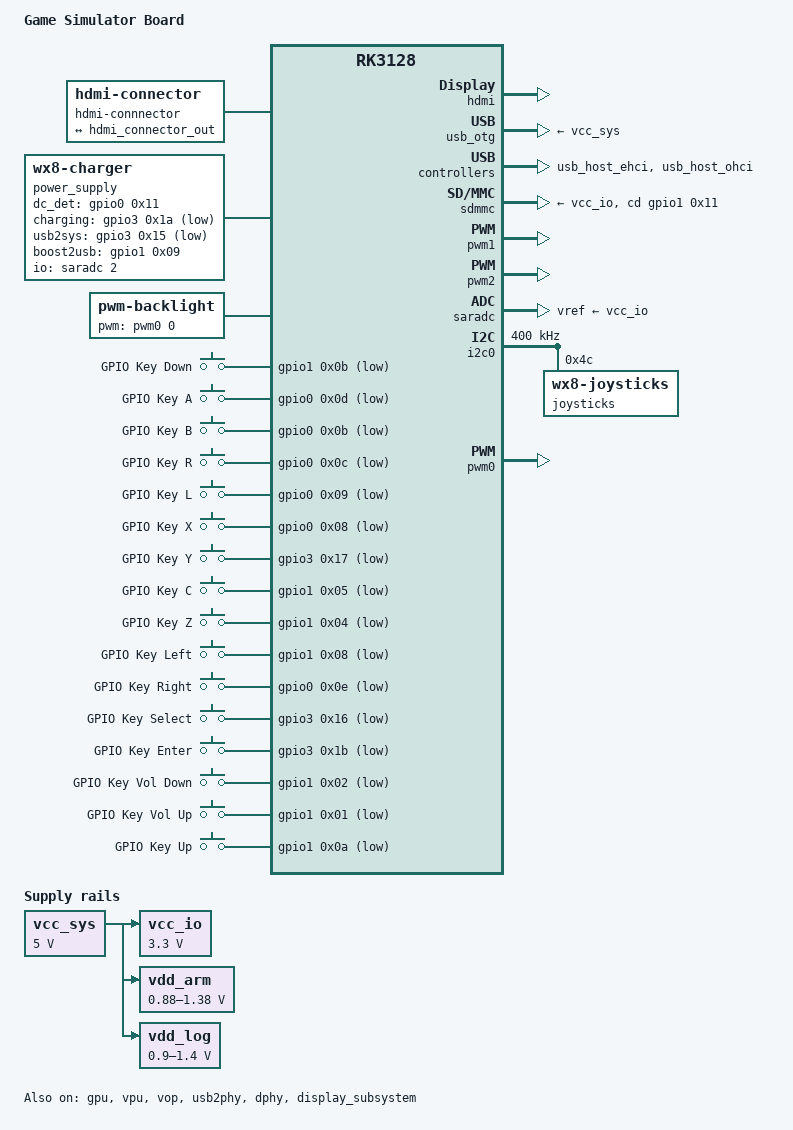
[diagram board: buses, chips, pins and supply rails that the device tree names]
/*
 * (C) Copyright 2017 Rockchip Electronics Co., Ltd
 * (C) Copyright 2021 Martin Cerveny
 *
 * SPDX-License-Identifier:     GPL-2.0+
 */

/dts-v1/;

#include <dt-bindings/input/input.h>
#include <dt-bindings/leds/common.h>

#include "rockchip/rk3128.dtsi"

/ {
	model = "Game Simulator Board";
	compatible = "rockchip,rk3128-gamesim", "rockchip,rk3128";

	chosen {
		stdout-path = &uart0;
		bootargs = "earlycon=uart8250,mmio32,0x20060000 rootwait console=ttyFIQ0,115200n8 swiotlb=1 root=PARTUUID=fd800c6c-2fdb-4502-82cb-e61f66b9a221";
	};

	vcc_sys: vcc-sys {	// from USB OTG or from battery
		compatible = "regulator-fixed";
		regulator-name = "vcc_sys";
		regulator-always-on;
		regulator-boot-on;
		regulator-min-microvolt = <5000000>;
		regulator-max-microvolt = <5000000>;
	};

	vcc_io: vcc-io {
		compatible = "regulator-fixed";
		regulator-name = "vcc_io";
		regulator-min-microvolt = <3300000>;
		regulator-max-microvolt = <3300000>;
		regulator-always-on;
		regulator-boot-on;
		vin-supply = <&vcc_sys>;
	};

	vdd_arm: vdd-arm {
		compatible = "pwm-regulator";
		pwms = <&pwm1 0 5000 0>;
		regulator-name = "vdd_arm";
		regulator-min-microvolt = <880000>;
		regulator-max-microvolt = <1380000>;
		regulator-init-microvolt = <1100000>;
		regulator-early-min-microvolt = <1100000>;
		regulator-always-on;
		regulator-boot-on;
		pwm-supply = <&vcc_sys>;
		pwm-dutycycle-range = <100 0>;
		pwm-dutycycle-unit = <100>;
	};

	vdd_log: vdd-log {
		compatible = "pwm-regulator";
		pwms = <&pwm2 0 5000 0>;
		regulator-name = "vdd_log";
		regulator-min-microvolt = <900000>;
		regulator-max-microvolt = <1400000>;
		regulator-init-microvolt = <1100000>;
		regulator-early-min-microvolt = <1100000>;
		regulator-always-on;
		regulator-boot-on;
		pwm-supply = <&vcc_sys>;
		pwm-dutycycle-range = <100 0>;
		pwm-dutycycle-unit = <100>;
	};

	hdmi-connnector {
		compatible = "hdmi-connector";
		type = "a";

		port {
			hdmi_connector_in: endpoint {
				remote-endpoint = <&hdmi_connector_out>;
			};
		};
	};

	fiq-debugger {
		compatible = "rockchip,fiq-debugger";
		rockchip,serial-id = <0>;
		rockchip,wake-irq = <159>;
		pinctrl-0 = <&uart0_xfer>;
		pinctrl-names = "default";
		rockchip,irq-mode-enable = <1>;
		rockchip,baudrate = <115200>;
		status = "okay";
	};

	reserved-memory {
		#address-cells = <0x01>;
		#size-cells = <0x01>;
		ranges;

		drm_logo: drm-logo@0 {
			compatible = "rockchip,drm-logo";
			reg = <0x00 0x00>;
		};
	};

	/*sound: sound {
		compatible = "simple-audio-card";
		simple-audio-card,format = "i2s";
		simple-audio-card,mclk-fs = <0x100>;
		simple-audio-card,name = "rockchip,rk312x-codec";
		simple-audio-card,routing = "Headphone Jack", "HiFi Playback";
		simple-audio-card,widgets = "Headphone", "Headphone Jack";

		simple-audio-card,dai-link@0 {
			format = "i2s";

			codec {
				sound-dai = <&codec>;
			};

			cpu {
				sound-dai = <&i2s_8ch>;
			};
		};

		simple-audio-card,dai-link@1 {
			format = "i2s";

			codec {
				sound-dai = <&hdmi>;
			};

			cpu {
				sound-dai = <&i2s_8ch>;
			};
		};
	};*/

	power_supply: power-supply {
		compatible = "wx8-charger";

		pinctrl-0 = <&charging_gpio &dc_det_gpio &usb2sys_gpio &boost2usb_gpio>;
		pinctrl-names = "default";

		dc_det_gpio = <&gpio0 0x11 GPIO_ACTIVE_HIGH>;	// input, works only when usb2sys_gpio
		charging_gpio = <&gpio3 0x1a GPIO_ACTIVE_LOW>;	// input, /CHRG output from TP4056

		// both output cannot be active in same time (eg. LOW-LOW or HIGH-HIGH is allowed), beaware loop boost->usb->sys->boost
		usb2sys_gpio = <&gpio3 0x15 GPIO_ACTIVE_LOW>;	// output, power switch "vcc_usb" -> "vcc_sys" & "vcc_charger"
		boost2usb_gpio = <&gpio1 0x09 GPIO_ACTIVE_HIGH>;// output, power switch "vcc_booster" -> vcc_usb"

		io-channels = <&saradc 2>;
		ref_voltage = <3300>; 		// mV, from saradc -> vref-supply -> ?
		voltage_divider = <200 200>; 	// adc resistor divider

		extcon = <&usb2phy>;
	};
};

&cpu0 {
	cpu-supply = <&vdd_arm>;
};

&cpu_opp_table {
	opp-1008000000 {
		clock-latency-ns = <40000>;
		opp-hz = /bits/ 64 <1008000000>;
		opp-microvolt = <1200000 1200000 1380000>;
		opp-microvolt-L0 = <1200000 1200000 1380000>;
		opp-microvolt-L1 = <1175000 1175000 1380000>;
		opp-microvolt-L2 = <1225000 1225000 1380000>;
	};

	opp-1200000000 {
		clock-latency-ns = <40000>;
		opp-hz = /bits/ 64 <1200000000>;
		opp-microvolt = <1325000 1325000 1380000>;
		opp-microvolt-L0 = <1325000 1325000 1380000>;
		opp-microvolt-L1 = <1300000 1300000 1380000>;
		opp-microvolt-L2 = <1375000 1375000 1380000>;
	};

	opp-216000000 {
		clock-latency-ns = <40000>;
		opp-hz = /bits/ 64 <216000000>;
		opp-microvolt = <925000 925000 1380000>;
		opp-microvolt-L0 = <925000 925000 1380000>;
		opp-microvolt-L1 = <925000 925000 1380000>;
		opp-microvolt-L2 = <950000 950000 1380000>;
	};

	opp-408000000 {
		clock-latency-ns = <40000>;
		opp-hz = /bits/ 64 <408000000>;
		opp-microvolt = <950000 950000 1380000>;
		opp-microvolt-L0 = <950000 950000 1380000>;
		opp-microvolt-L1 = <925000 925000 1380000>;
		opp-microvolt-L2 = <950000 950000 1380000>;
	};

	opp-600000000 {
		clock-latency-ns = <40000>;
		opp-hz = /bits/ 64 <600000000>;
		opp-microvolt = <975000 975000 1380000>;
		opp-microvolt-L0 = <975000 975000 1380000>;
		opp-microvolt-L1 = <950000 950000 1380000>;
		opp-microvolt-L2 = <975000 975000 1380000>;
	};

	opp-696000000 {
		clock-latency-ns = <40000>;
		opp-hz = /bits/ 64 <696000000>;
		opp-microvolt = <1000000 1000000 1380000>;
		opp-microvolt-L0 = <1000000 1000000 1380000>;
		opp-microvolt-L1 = <975000 975000 1380000>;
		opp-microvolt-L2 = <1050000 1050000 1380000>;
	};

	opp-816000000 {
		clock-latency-ns = <40000>;
		opp-hz = /bits/ 64 <816000000>;
		opp-microvolt = <1075000 1075000 1380000>;
		opp-microvolt-L0 = <1075000 1075000 1380000>;
		opp-microvolt-L1 = <1050000 1050000 1380000>;
		opp-microvolt-L2 = <1100000 1100000 1380000>;
		opp-suspend;
	};
};

/*&dfi {
	status = "okay";
};*/

/*&dmc {
	status = "okay";
	center-supply = <&vdd_log>;
	vop-dclk-mode = <1>;
};*/

/*&soc_thermal {
	trips {
		soc_crit: soc-crit {
			hysteresis = <2000>;
			temperature = <115000>;
			type = "critical";
		};
	};
};*/

/*&tsadc {
	status = "okay";
};*/

&gpu {
	status = "okay";
	mali-supply = <&vdd_log>;
};

/*&rng {
	status = "okay";
};*/

/*&hevc {
	status = "okay";
};

&hevc_mmu {
	status = "okay";
};*/

&vpu {
	status = "okay";
};

&vpu_mmu {
	status = "okay";
};

/*&vpu_combo {
	status = "okay";
};

&rga  {
	status = "okay";
};*/

&vop {
	status = "okay";
};

/*&vop_mmu {
	status = "okay";
};*/

&hdmi {
	status = "okay";
};

&hdmi_out {
	hdmi_connector_out: endpoint {
		remote-endpoint = <&hdmi_connector_in>;
	};
};

&usb_otg {
	status = "okay";
	vbus-supply = <&vcc_sys>;
};

&usb_host_ehci {
	status = "okay";
};

&usb_host_ohci {
	status = "okay";
};

/*&i2s_8ch  {
	status = "okay";
	#sound-dai-cells = <0>;
};*/

/*&sfc {
	status = "okay";
};*/

&sdmmc {
	status = "okay";

	supports-sd;
	broken-cd;

	card-detect-delay = <200>;
	ignore-pm-notify;
	keep-power-in-suspend;
	vmmc-supply = <&vcc_io>;
	vqmmc-supply = <&vcc_io>;

	cd-gpios = <&gpio1 0x11 0x00>;

	cap-mmc-highspeed;
	cap-sd-highspeed;

	clock-frequency = <37500000>;
	max-frequency = <37500000>;
	num-slots = <1>;
};

&usb2phy {
	status = "okay";
};


/*&codec {
	status = "okay";

	#sound-dai-cells = <0>;
	capture_volume = <0x1a>;
	codec_hp_det = <1>;
	gpio_debug = <1>;

	hp-mute-delay = <0x05>;
	hp_volume = <0x19>;

	spk-ctl-gpios = <&gpio1 0x03 0x00>;
	spk-mute-delay = <0x05>;
	spk_volume = <0x19>;

	rk312x_for_mid = <0>;
	is_rk3128 = <1>;
};*/

&dphy {
	status = "okay";
};

&pwm1 {
	status = "okay";
};

&pwm2 {
	status = "okay";
};

&saradc {
	status = "okay";
	vref-supply = <&vcc_io>;
};

&i2c0 {
	status = "okay";

	clock-frequency = <400000>;

	i2c-scl-falling-time-ns = <0x0b>;
	i2c-scl-rising-time-ns = <0x109>;

	joysticks: i2cjoy@4c {
		compatible = "wx8-joysticks";
		reg = <0x4c>;
	};
};


&pinctrl {
	lcdc {
		lcd_enable: lcd-enable {
			rockchip,pins = <1 RK_PB4 RK_FUNC_GPIO &pcfg_pull_none>;
		};

		lcd_reset: lcd-reset {
			rockchip,pins = <0 RK_PD0 RK_FUNC_GPIO &pcfg_pull_none>;
		};
	};

	buttons {

		game_keys: game-keys {
			rockchip,pins = <1 0x04 RK_FUNC_GPIO &pcfg_pull_default
					 1 0x05 RK_FUNC_GPIO &pcfg_pull_default
					 0 0x08 RK_FUNC_GPIO &pcfg_pull_default
					 0 0x09 RK_FUNC_GPIO &pcfg_pull_default
					 0 0x0b RK_FUNC_GPIO &pcfg_pull_default
					 0 0x0c RK_FUNC_GPIO &pcfg_pull_default
					 0 0x0d RK_FUNC_GPIO &pcfg_pull_default
					 0 0x0e RK_FUNC_GPIO &pcfg_pull_default
					 1 0x08 RK_FUNC_GPIO &pcfg_pull_default
					 1 0x0a RK_FUNC_GPIO &pcfg_pull_default
					 1 0x0b RK_FUNC_GPIO &pcfg_pull_default
					 3 0x16 RK_FUNC_GPIO &pcfg_pull_default
					 3 0x17 RK_FUNC_GPIO &pcfg_pull_default
					 3 0x1b RK_FUNC_GPIO &pcfg_pull_default
					 1 0x01 RK_FUNC_GPIO &pcfg_pull_default
					 1 0x02 RK_FUNC_GPIO &pcfg_pull_default
					 >;
		};
	};

	power {
		charging_gpio: charging-gpio {
			rockchip,pins = <3 0x1a RK_FUNC_GPIO &pcfg_pull_default>;
		};

		usb2sys_gpio: usb2sys-gpio {
			rockchip,pins = <3 0x15 RK_FUNC_GPIO &pcfg_pull_default>;
		};

		boost2usb_gpio: boost2usb-gpio {
			rockchip,pins = <1 0x09 RK_FUNC_GPIO &pcfg_pull_default>;
		};

		dc_det_gpio: dc-det-gpio {
			rockchip,pins = <0 0x11 RK_FUNC_GPIO &pcfg_pull_default>;
		};
	};

	unresolved {
		// now over /sys/class/gpio/
		boosters_enable: boosters-enable {
			rockchip,pins = <2 0x1d RK_FUNC_GPIO &pcfg_pull_default>;
		};

		// unknown driver compatible = "rockchip,rk3126-usb-control"
		host_drv_gpio: host-drv-gpio {
			rockchip,pins = <3 0x14 RK_FUNC_GPIO &pcfg_pull_default>;
		};

		// unknown driver function in original driver compatible = "rk30-adc-battery"
		chg_en: chg-en {
			rockchip,pins = <3 0x11 RK_FUNC_GPIO &pcfg_pull_default>;
		};

		// unknown driver function in original driver compatible = "rk30-adc-battery"
		led_power_gpio: led-power-gpio {
			rockchip,pins = <1 0x07 RK_FUNC_GPIO &pcfg_pull_default>;
		};
	};
};

/ {
	backlight: backlight {
		compatible = "pwm-backlight";
		pwms = <&pwm0 0 25000 0>;
		default-brightness-level = <200>;
		brightness-levels = <
			  0   1   2   3   4   5   6   7
			  8   9  10  11  12  13  14  15
			 16  17  18  19  20  21  22  23
			 24  25  26  27  28  29  30  31
			 32  33  34  35  36  37  38  39
			 40  41  42  43  44  45  46  47
			 48  49  50  51  52  53  54  55
			 56  57  58  59  60  61  62  63
			 64  65  66  67  68  69  70  71
			 72  73  74  75  76  77  78  79
			 80  81  82  83  84  85  86  87
			 88  89  90  91  92  93  94  95
			 96  97  98  99 100 101 102 103
			104 105 106 107 108 109 110 111
			112 113 114 115 116 117 118 119
			120 121 122 123 124 125 126 127
			128 129 130 131 132 133 134 135
			136 137 138 139 140 141 142 143
			144 145 146 147 148 149 150 151
			152 153 154 155 156 157 158 159
			160 161 162 163 164 165 166 167
			168 169 170 171 172 173 174 175
			176 177 178 179 180 181 182 183
			184 185 186 187 188 189 190 191
			192 193 194 195 196 197 198 199
			200 201 202 203 204 205 206 207
			208 209 210 211 212 213 214 215
			216 217 218 219 220 221 222 223
			224 225 226 227 228 229 230 231
			232 233 234 235 236 237 238 239
			240 241 242 243 244 245 246 247
			248 249 250 251 252 253 254 255>;
		status = "okay";

	};

	keys {
		autorepeat;
		compatible = "gpio-keys";
		pinctrl-0 = <&game_keys>;
		pinctrl-names = "default";

		down {
			debounce-interval = <20>;
			gpios = <&gpio1 0x0b 0x01>;
			label = "GPIO Key Down";
			linux,code = <KEY_DOWN>;
		};

		f1 {
			debounce-interval = <20>;
			gpios = <&gpio0 0x0d 0x01>;
			label = "GPIO Key A";
			linux,code = <KEY_A>;
		};

		f2 {
			debounce-interval = <20>;
			gpios = <&gpio0 0x0b 0x01>;
			label = "GPIO Key B";
			linux,code = <KEY_B>;
		};

		f3 {
			debounce-interval = <20>;
			gpios = <&gpio0 0x0c 0x01>;
			label = "GPIO Key R";
			linux,code = <KEY_R>;
		};

		f4 {
			debounce-interval = <20>;
			gpios = <&gpio0 0x09 0x01>;
			label = "GPIO Key L";
			linux,code = <KEY_L>;
		};

		f5 {
			debounce-interval = <20>;
			gpios = <&gpio0 0x08 0x01>;
			label = "GPIO Key X";
			linux,code = <KEY_X>;
		};

		f6 {
			debounce-interval = <20>;
			gpios = <&gpio3 0x17 0x01>;
			label = "GPIO Key Y";
			linux,code = <KEY_Y>;
		};

		f7 {
			debounce-interval = <20>;
			gpios = <&gpio1 0x05 0x01>;
			label = "GPIO Key C";
			linux,code = <KEY_C>;
		};

		f8 {
			debounce-interval = <20>;
			gpios = <&gpio1 0x04 0x01>;
			label = "GPIO Key Z";
			linux,code = <KEY_Z>;
		};

		left {
			debounce-interval = <20>;
			gpios = <&gpio1 0x08 0x01>;
			label = "GPIO Key Left";
			linux,code = <KEY_LEFT>;
		};

		right {
			debounce-interval = <20>;
			gpios = <&gpio0 0x0e 0x01>;
			label = "GPIO Key Right";
			linux,code = <KEY_RIGHT>;
		};

		select {
			debounce-interval = <20>;
			gpios = <&gpio3 0x16 0x01>;
			label = "GPIO Key Select";
			linux,code = <KEY_RIGHTSHIFT>;
		};

		start {
			debounce-interval = <20>;
			gpios = <&gpio3 0x1b 0x01>;
			label = "GPIO Key Enter";
			linux,code = <KEY_ENTER>;
		};

		vol-down-key {
			debounce-interval = <20>;
			gpios = <&gpio1 0x02 0x01>;
			label = "GPIO Key Vol Down";
			linux,code = <KEY_VOLUMEDOWN>;
		};

		vol-up-key {
			debounce-interval = <20>;
			gpios = <&gpio1 0x01 0x01>;
			label = "GPIO Key Vol Up";
			linux,code = <KEY_VOLUMEUP>;
		};

		up {
			debounce-interval = <20>;
			gpios = <&gpio1 0x0a 0x01>;
			label = "GPIO Key Up";
			linux,code = <KEY_UP>;
		};
	};

};

&joysticks {
	axes = <ABS_Z ABS_RZ ABS_X ABS_Y>;
	keys = <KEY_A KEY_X KEY_B KEY_Y KEY_LEFT KEY_RIGHT KEY_UP KEY_DOWN>;
	// example game/dpad mapping: keys = <BTN_EAST BTN_WEST BTN_SOUTH BTN_NORTH BTN_DPAD_LEFT BTN_DPAD_RIGHT BTN_DPAD_UP BTN_DPAD_DOWN>;
};

&power_supply {
        discharge_table = <3500 3586 3636 3663 3724 3744 3760 3773 3772 3794 3806 3854 3897 3949 3986 4035 4075 4118 4150>;	// mV
        charge_table =    <3600 3900 3928 3965 3994 4015 4023 4045 4059 4096 4133 4171 4250>;	// mV, without mA cannot determine charging in CV part

        design_capacity = <3000>;	// mAh, battery "GSL475568"
};

&pwm0 {
	status = "okay";
};

&display_subsystem {
	status = "okay";
	logo-memory-region = <&drm_logo>;

	route {
		/*route_dsi: route-dsi {
			connect = <&vop_out_dsi>;
			status = "okay";
		};*/
		route_hdmi: route-hdmi {
			connect = <&vop_out_hdmi>;
			status = "okay";
		};
	};

};

/*&dsi {
	status = "okay";

	panel@0 {
		compatible = "simple-panel-dsi";
		reg = <0>;
		power-supply = <&vcc_io>;
		backlight = <&backlight>;
		pinctrl-names = "default";
		pinctrl-0 = <&lcd_reset &lcd_enable>;
		dsi,flags = <(MIPI_DSI_MODE_LPM | MIPI_DSI_MODE_EOT_PACKET | MIPI_DSI_MODE_VIDEO_BURST | MIPI_DSI_MODE_VIDEO)>;
		dsi,format = <MIPI_DSI_FMT_RGB888>;
		dsi,lanes = <2>;
		reset-gpios = <&gpio0 RK_PD0 GPIO_ACTIVE_LOW>;
		enable-gpios = <&gpio1 RK_PB4 GPIO_ACTIVE_LOW>;
		reset-delay-ms = <10>;
		enable-delay-ms = <100>;
		prepare-delay-ms = <10>;
		unprepare-delay-ms = <2000>;
		init-delay-ms = <1000>;
		panel-init-sequence = [
			39 00 03 f0 5a 5a
			39 00 06 a1 00 00 06 08 ff
			39 00 04 b1 07 00 00
			39 00 05 b2 11 11 11 11
			15 00 02 b3 01
			15 00 02 b4 15
			39 00 16 b5 ff ef 35 42 0d d7 ff 07 ff ff fd 00 01 ff 05 12 0f ff ff ff ff
			15 00 02 c0 00
			39 00 1d c1 00 4d 96 1d 00 00 0f 3b 00 00 0f 21 05 0a 0f 14 19 1e 23 28 2d 32 37 3c 41 46 4b 50
			39 00 05 f4 33 42 00 08
			39 00 06 f5 00 06 26 35 03
			15 00 02 f7 20
			39 00 15 f8 7f 7a 89 67 26 38 00 00 09 67 70 88 7a 76 05 09 23 23 23 00
			39 00 17 f9 00 9f 9f be cf d7 c9 c2 cb bb e1 e3 de d6 d0 d3 fa ed e6 2f 00 2f
			05 c8 01 11
			05 78 01 29
			15 00 02 35 00];
		panel-exit-sequence = <0x05000128 0x05000110>;

		display-timings {
			native-mode = <&timing0>;

			timing0: timing0 {
				clock-frequency = <33000000>;
				hactive = <960>;
				vactive = <544>;
				hback-porch = <15>;
				hfront-porch = <5>;
				hsync-len = <4>;
				vback-porch = <10>;
				vfront-porch = <10>;
				vsync-len = <4>;
				hsync-active = <0>;
				vsync-active = <0>;
				de-active = <0>;
				pixelclk-active = <0>;
			};
		};
	};
};*/
